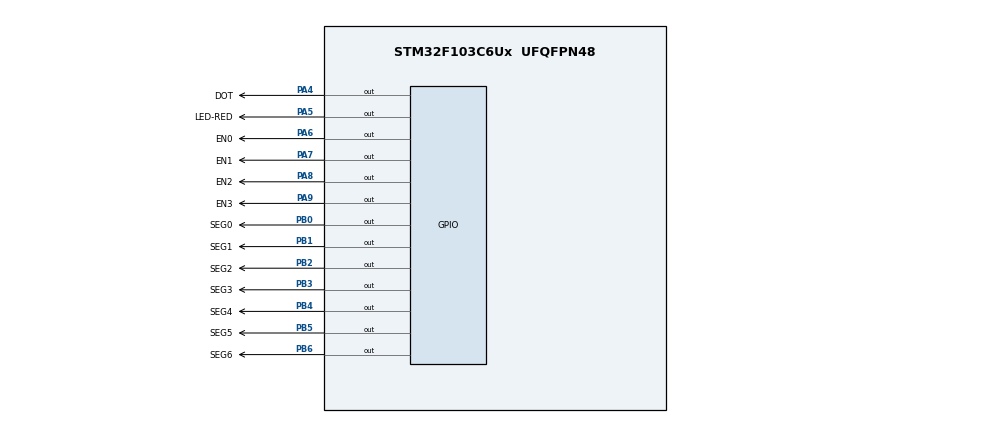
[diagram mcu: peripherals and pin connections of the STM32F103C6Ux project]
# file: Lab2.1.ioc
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Mcu.Family=STM32F1
Mcu.Name=STM32F103C6Ux
Mcu.Package=UFQFPN48
NVIC.PriorityGroup=NVIC_PRIORITYGROUP_4
NVIC.TIM2_IRQn=true\:0\:0\:false\:false\:true\:true\:true
PA4.GPIO_Label=DOT
PA4.Signal=GPIO_Output
PA5.GPIO_Label=LED-RED
PA5.Signal=GPIO_Output
PA6.GPIO_Label=EN0
PA6.Signal=GPIO_Output
PA7.GPIO_Label=EN1
PA7.Signal=GPIO_Output
PA8.GPIO_Label=EN2
PA8.Signal=GPIO_Output
PA9.GPIO_Label=EN3
PA9.Signal=GPIO_Output
PB0.GPIO_Label=SEG0
PB0.Signal=GPIO_Output
PB1.GPIO_Label=SEG1
PB1.Signal=GPIO_Output
PB2.GPIO_Label=SEG2
PB2.Signal=GPIO_Output
PB3.GPIO_Label=SEG3
PB3.Signal=GPIO_Output
PB4.GPIO_Label=SEG4
PB4.Signal=GPIO_Output
PB5.GPIO_Label=SEG5
PB5.Signal=GPIO_Output
PB6.GPIO_Label=SEG6
PB6.Signal=GPIO_Output
ProjectManager.HeapSize=0x200
ProjectManager.StackSize=0x400
ProjectManager.TargetToolchain=STM32CubeIDE
RCC.APB1Freq_Value=8000000
RCC.APB2Freq_Value=8000000
TIM2.Period=9
TIM2.Prescaler=7999
VP_SYS_VS_ND.Mode=No_Debug
VP_TIM2_VS_ClockSourceINT.Mode=Internal
board=custom

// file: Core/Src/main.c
/* USER CODE BEGIN Header */
/**
  ******************************************************************************
  * @file           : main.c
  * @brief          : Main program body
  ******************************************************************************
  * @attention
  *
  * <h2><center>&copy; Copyright (c) 2026 STMicroelectronics.
  * All rights reserved.</center></h2>
  *
  * This software component is licensed by ST under BSD 3-Clause license,
  * the "License"; You may not use this file except in compliance with the
  * License. You may obtain a copy of the License at:
  *                        opensource.org/licenses/BSD-3-Clause
  *
  ******************************************************************************
  */
/* USER CODE END Header */
#include "main.h"

TIM_HandleTypeDef htim2;

/* USER CODE BEGIN PV */
const int MAX_LED = 4;
int index_led = 0;
int led_buffer[4] = {1, 2, 3, 4};

int hour = 15, minute = 8, second = 50;/* USER CODE END PV */

void SystemClock_Config(void);
static void MX_GPIO_Init(void);
static void MX_TIM2_Init(void);
/* USER CODE BEGIN PFP */
void updateClockBuffer(void);
/* USER CODE END PFP */

/* USER CODE BEGIN 0 */
const uint8_t segment_code[10] = {
    0x40, // 0: a,b,c,d,e,f on (g off)
    0x79, // 1: b,c on
    0x24, // 2: a,b,d,e,g on
    0x30, // 3: a,b,c,d,g on
    0x19, // 4: b,c,f,g on
    0x12, // 5: a,c,d,f,g on
    0x02, // 6: a,c,d,e,f,g on
    0x78, // 7: a,b,c on
    0x00, // 8: a,b,c,d,e,f,g on
    0x10  // 9: a,b,c,d,f,g on
};

void display7SEG(int num) {
    if (num < 0 || num > 9) return;

    uint8_t code = segment_code[num];

    HAL_GPIO_WritePin(GPIOB, GPIO_PIN_0, (code & (1 << 0)) ? GPIO_PIN_SET : GPIO_PIN_RESET);
    HAL_GPIO_WritePin(GPIOB, GPIO_PIN_1, (code & (1 << 1)) ? GPIO_PIN_SET : GPIO_PIN_RESET);
    HAL_GPIO_WritePin(GPIOB, GPIO_PIN_2, (code & (1 << 2)) ? GPIO_PIN_SET : GPIO_PIN_RESET);
    HAL_GPIO_WritePin(GPIOB, GPIO_PIN_3, (code & (1 << 3)) ? GPIO_PIN_SET : GPIO_PIN_RESET);
    HAL_GPIO_WritePin(GPIOB, GPIO_PIN_4, (code & (1 << 4)) ? GPIO_PIN_SET : GPIO_PIN_RESET);
    HAL_GPIO_WritePin(GPIOB, GPIO_PIN_5, (code & (1 << 5)) ? GPIO_PIN_SET : GPIO_PIN_RESET);
    HAL_GPIO_WritePin(GPIOB, GPIO_PIN_6, (code & (1 << 6)) ? GPIO_PIN_SET : GPIO_PIN_RESET);
}
/* USER CODE END 0 */

int main(void)
{

  /* MCU Configuration--------------------------------------------------------*/

  /* Reset of all peripherals, Initializes the Flash interface and the Systick. */
  HAL_Init();

  /* Configure the system clock */
  SystemClock_Config();

  /* Initialize all configured peripherals */
  MX_GPIO_Init();
  MX_TIM2_Init();
  /* USER CODE BEGIN 2 */
  HAL_TIM_Base_Start_IT (& htim2 );
  /* USER CODE END 2 */

  /* Infinite loop */
  while (1)
  {

    /* USER CODE BEGIN 3 */
	  second++;
	  if (second >= 60) {
		  second = 0;
		  minute++;
		  if (minute >= 60) {
			  minute = 0;
			  hour++;
		  }
		  if (hour >= 24) {
			  hour = 0;
		  }
	  }
	  updateClockBuffer();
	  HAL_Delay(1000);
  }
  /* USER CODE END 3 */
}

void SystemClock_Config(void)
{
  RCC_OscInitTypeDef RCC_OscInitStruct = {0};
  RCC_ClkInitTypeDef RCC_ClkInitStruct = {0};

  /** Initializes the RCC Oscillators according to the specified parameters
  * in the RCC_OscInitTypeDef structure.
  */
  RCC_OscInitStruct.OscillatorType = RCC_OSCILLATORTYPE_HSI;
  RCC_OscInitStruct.HSIState = RCC_HSI_ON;
  RCC_OscInitStruct.HSICalibrationValue = RCC_HSICALIBRATION_DEFAULT;
  RCC_OscInitStruct.PLL.PLLState = RCC_PLL_NONE;
  if (HAL_RCC_OscConfig(&RCC_OscInitStruct) != HAL_OK)
  {
    Error_Handler();
  }
  /** Initializes the CPU, AHB and APB buses clocks
  */
  RCC_ClkInitStruct.ClockType = RCC_CLOCKTYPE_HCLK|RCC_CLOCKTYPE_SYSCLK
                              |RCC_CLOCKTYPE_PCLK1|RCC_CLOCKTYPE_PCLK2;
  RCC_ClkInitStruct.SYSCLKSource = RCC_SYSCLKSOURCE_HSI;
  RCC_ClkInitStruct.AHBCLKDivider = RCC_SYSCLK_DIV1;
  RCC_ClkInitStruct.APB1CLKDivider = RCC_HCLK_DIV1;
  RCC_ClkInitStruct.APB2CLKDivider = RCC_HCLK_DIV1;

  if (HAL_RCC_ClockConfig(&RCC_ClkInitStruct, FLASH_LATENCY_0) != HAL_OK)
  {
    Error_Handler();
  }
}

static void MX_TIM2_Init(void)
{

  TIM_ClockConfigTypeDef sClockSourceConfig = {0};
  TIM_MasterConfigTypeDef sMasterConfig = {0};

  htim2.Instance = TIM2;
  htim2.Init.Prescaler = 7999;
  htim2.Init.CounterMode = TIM_COUNTERMODE_UP;
  htim2.Init.Period = 9;
  htim2.Init.ClockDivision = TIM_CLOCKDIVISION_DIV1;
  htim2.Init.AutoReloadPreload = TIM_AUTORELOAD_PRELOAD_DISABLE;
  if (HAL_TIM_Base_Init(&htim2) != HAL_OK)
  {
    Error_Handler();
  }
  sClockSourceConfig.ClockSource = TIM_CLOCKSOURCE_INTERNAL;
  if (HAL_TIM_ConfigClockSource(&htim2, &sClockSourceConfig) != HAL_OK)
  {
    Error_Handler();
  }
  sMasterConfig.MasterOutputTrigger = TIM_TRGO_RESET;
  sMasterConfig.MasterSlaveMode = TIM_MASTERSLAVEMODE_DISABLE;
  if (HAL_TIMEx_MasterConfigSynchronization(&htim2, &sMasterConfig) != HAL_OK)
  {
    Error_Handler();
  }

}

static void MX_GPIO_Init(void)
{
  GPIO_InitTypeDef GPIO_InitStruct = {0};

  /* GPIO Ports Clock Enable */
  __HAL_RCC_GPIOA_CLK_ENABLE();
  __HAL_RCC_GPIOB_CLK_ENABLE();

  /*Configure GPIO pin Output Level */
  HAL_GPIO_WritePin(GPIOA, DOT_Pin|LED_RED_Pin|EN0_Pin|EN1_Pin
                          |EN2_Pin|EN3_Pin, GPIO_PIN_RESET);

  /*Configure GPIO pin Output Level */
  HAL_GPIO_WritePin(GPIOB, SEG0_Pin|SEG1_Pin|SEG2_Pin|SEG3_Pin
                          |SEG4_Pin|SEG5_Pin|SEG6_Pin, GPIO_PIN_RESET);

  /*Configure GPIO pins : DOT_Pin LED_RED_Pin EN0_Pin EN1_Pin
                           EN2_Pin EN3_Pin */
  GPIO_InitStruct.Pin = DOT_Pin|LED_RED_Pin|EN0_Pin|EN1_Pin
                          |EN2_Pin|EN3_Pin;
  GPIO_InitStruct.Mode = GPIO_MODE_OUTPUT_PP;
  GPIO_InitStruct.Pull = GPIO_NOPULL;
  GPIO_InitStruct.Speed = GPIO_SPEED_FREQ_LOW;
  HAL_GPIO_Init(GPIOA, &GPIO_InitStruct);

  /*Configure GPIO pins : SEG0_Pin SEG1_Pin SEG2_Pin SEG3_Pin
                           SEG4_Pin SEG5_Pin SEG6_Pin */
  GPIO_InitStruct.Pin = SEG0_Pin|SEG1_Pin|SEG2_Pin|SEG3_Pin
                          |SEG4_Pin|SEG5_Pin|SEG6_Pin;
  GPIO_InitStruct.Mode = GPIO_MODE_OUTPUT_PP;
  GPIO_InitStruct.Pull = GPIO_NOPULL;
  GPIO_InitStruct.Speed = GPIO_SPEED_FREQ_LOW;
  HAL_GPIO_Init(GPIOB, &GPIO_InitStruct);

}

/* USER CODE BEGIN 4 */
void updateClockBuffer(void) {
    led_buffer[0] = hour / 10;
    led_buffer[1] = hour % 10;

    led_buffer[2] = minute / 10;
    led_buffer[3] = minute % 10;
}

void update7SEG (int index){
	switch (index){
	case 0:
		HAL_GPIO_WritePin(GPIOA, EN1_Pin, GPIO_PIN_SET);
		HAL_GPIO_WritePin(GPIOA, EN2_Pin, GPIO_PIN_SET);
		HAL_GPIO_WritePin(GPIOA, EN3_Pin, GPIO_PIN_SET);
		display7SEG(led_buffer[0]);
		HAL_GPIO_WritePin(GPIOA, EN0_Pin, GPIO_PIN_RESET);
		break ;
	case 1:
		HAL_GPIO_WritePin(GPIOA, EN0_Pin, GPIO_PIN_SET);
		HAL_GPIO_WritePin(GPIOA, EN2_Pin, GPIO_PIN_SET);
		HAL_GPIO_WritePin(GPIOA, EN3_Pin, GPIO_PIN_SET);
		display7SEG(led_buffer[1]);
		HAL_GPIO_WritePin(GPIOA, EN1_Pin, GPIO_PIN_RESET);
		break ;
	case 2:
		HAL_GPIO_WritePin(GPIOA, EN0_Pin, GPIO_PIN_SET);
		HAL_GPIO_WritePin(GPIOA, EN1_Pin, GPIO_PIN_SET);
		HAL_GPIO_WritePin(GPIOA, EN3_Pin, GPIO_PIN_SET);
		display7SEG(led_buffer[2]);
		HAL_GPIO_WritePin(GPIOA, EN2_Pin, GPIO_PIN_RESET);
		break ;
	case 3:
		HAL_GPIO_WritePin(GPIOA, EN0_Pin, GPIO_PIN_SET);
		HAL_GPIO_WritePin(GPIOA, EN1_Pin, GPIO_PIN_SET);
		HAL_GPIO_WritePin(GPIOA, EN2_Pin, GPIO_PIN_SET);
		display7SEG(led_buffer[3]);
		HAL_GPIO_WritePin(GPIOA, EN3_Pin, GPIO_PIN_RESET);
		break ;
	default :
		break ;
	}
}

int counter = 25;
int counter1 = 100;

void HAL_TIM_PeriodElapsedCallback(TIM_HandleTypeDef *htim)
{
    if (htim->Instance == TIM2)
    {
        counter--;
        counter1--;

        if (counter1 <= 0)
        {
        	counter1 = 100;
        	HAL_GPIO_TogglePin ( DOT_GPIO_Port , DOT_Pin );
        }

        if (counter <= 0)
        {
            counter = 25;
            update7SEG(index_led ++);
            if (index_led > MAX_LED - 1) index_led = 0;
        }
    }
}
/* USER CODE END 4 */

void Error_Handler(void)
{
  __disable_irq();
  while (1)
  {
  }
}

/************************ (C) COPYRIGHT STMicroelectronics *****END OF FILE****/
